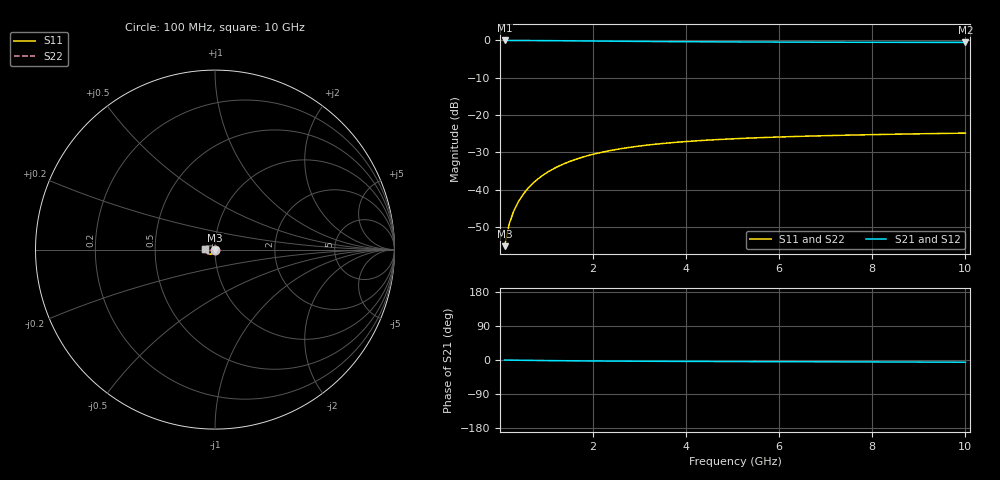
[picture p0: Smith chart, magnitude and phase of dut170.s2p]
! Touchstone file exported from HFSS 2024.1.0
!  File:  C:/UserFiles/LocalFiles/RDL_TSV_Batchsim/temp_TSV1_170_1779383237.aedt
!  Generated:  01:12:52 AM May 22, 2026
!  Design:  TSV1
!  Project:  temp_TSV1_170_1779383237
!  Setup:  Setup1
!  Solution:  Sweep
! Variables:
!  dtsv = 13.15um
!  hbump = 3um
!  htsv = 89.91um
!  lrdl = 252.1521522um
!  p = 40
!  p1 = 59.42um
!  t = 500um
!  trdl = 3um
!  wrdl = 24.89489489um
# GHz S MA R 50.000000
! Terminal data exported
! Port[1] = TSV22_T1
! Port[2] = TSV22_T2
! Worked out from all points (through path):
!   100 points, 100 MHz to 10 GHz, reference 50 ohm
!   highest |S21| = 0.00 dB at 100 MHz (marker M1); lowest = -0.5 dB at 10 GHz (marker M2)
!   lowest |S11| = -55.1 dB at 100 MHz (marker M3), VSWR 1.00, Z = 50 - j0.176 ohm
!   |S11| at or under -10 dB: start of sweep to end of sweep
!   |S22| runs from -55.1 to -24.8 dB; largest |S21 - S12| = 3.3e-15
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0.1  0.001761 -89.0  0.9998 -0.2  0.9998 -0.2  0.001761 -89.0
! Gamma 0 0 0 0
! Port Impedance 50 0 50 0
0.2  0.003518 -92.3  0.9996 -0.3  0.9996 -0.3  0.003518 -92.3
0.3  0.00527 -94.8  0.9993 -0.5  0.9993 -0.5  0.00527 -94.8
0.4  0.007012 -97.0  0.9989 -0.6  0.9989 -0.6  0.007012 -97.0
0.5  0.008735 -99.1  0.9983 -0.8  0.9983 -0.8  0.008735 -99.1
0.6  0.01043 -101.2  0.9977 -0.9  0.9977 -0.9  0.01043 -101.2
0.7  0.0121 -103.2  0.9969 -1.1  0.9969 -1.1  0.0121 -103.2
0.8  0.01374 -105.2  0.9961 -1.2  0.9961 -1.2  0.01374 -105.2
0.9  0.01533 -107.1  0.9952 -1.4  0.9952 -1.4  0.01533 -107.1
1.1  0.0184 -110.9  0.9932 -1.6  0.9932 -1.6  0.0184 -110.9
1.4  0.02266 -116.2  0.9898 -2.0  0.9898 -2.0  0.02266 -116.2
1.6  0.02527 -119.6  0.9874 -2.2  0.9874 -2.2  0.02527 -119.6
1.8  0.02768 -122.8  0.985 -2.4  0.985 -2.4  0.02768 -122.8
2.1  0.03095 -127.2  0.9813 -2.6  0.9813 -2.6  0.03095 -127.2
2.5  0.03472 -132.7  0.9766 -2.9  0.9766 -2.9  0.03472 -132.7
2.9  0.03789 -137.5  0.9722 -3.2  0.9722 -3.2  0.03789 -137.5
3.4  0.04116 -142.9  0.9674 -3.4  0.9674 -3.4  0.04116 -142.9
4.2  0.04519 -150.2  0.9609 -3.8  0.9609 -3.8  0.04519 -150.2
5.1  0.04851 -156.9  0.9554 -4.1  0.9554 -4.1  0.04851 -156.9
6.7  0.05253 -166.5  0.9485 -4.7  0.9485 -4.7  0.05253 -166.5
8.4  0.05541 -174.5  0.9439 -5.2  0.9439 -5.2  0.05541 -174.5
10  0.05748 179.2  0.9409 -5.8  0.9409 -5.8  0.05748 179.2
